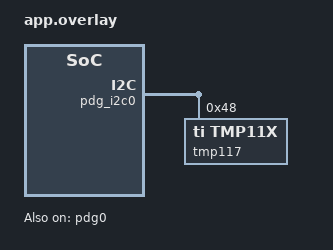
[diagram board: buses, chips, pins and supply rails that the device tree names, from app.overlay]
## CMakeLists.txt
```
# Copyright (c) 2026 Open Device Partnership and Contributors
# SPDX-License-Identifier: MIT

cmake_minimum_required(VERSION 3.20.0)

set(BOARD native_sim/native/64 CACHE STRING "Default board for Pico de Gallo samples")
set(SHIELD pico_de_gallo CACHE STRING "Default shield for Pico de Gallo samples")
get_filename_component(PDG_MODULE_ROOT "${CMAKE_CURRENT_LIST_DIR}/../../.." ABSOLUTE)
list(APPEND EXTRA_ZEPHYR_MODULES "${PDG_MODULE_ROOT}")

find_package(Zephyr REQUIRED HINTS $ENV{ZEPHYR_BASE})
project(pdg_i2c_bridge)

target_sources(app PRIVATE src/main.c)
```

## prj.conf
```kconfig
CONFIG_I2C=y
CONFIG_LOG=y
CONFIG_SENSOR=y
```

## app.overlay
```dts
/*
 * Copyright (c) 2026 Open Device Partnership and Contributors
 *
 * SPDX-License-Identifier: MIT
 */


&pdg0 {
	status = "okay";
};

&pdg_i2c0 {
	status = "okay";

	tmp117: tmp117@48 {
		compatible = "ti,tmp11x";
		reg = <0x48>;
		status = "okay";
	};
};
```

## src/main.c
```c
/*
 * Copyright (c) 2026 Open Device Partnership and Contributors
 *
 * SPDX-License-Identifier: MIT
 *
 * Small sample/test for the Pico de Gallo I2C controller. Reads the ambient
 * temperature from a TI TMP117 on the bridged I2C bus via the Zephyr sensor
 * API.
 */

#include <zephyr/kernel.h>
#include <zephyr/device.h>
#include <zephyr/drivers/sensor.h>

int main(void)
{
	const struct device *tmp117 = DEVICE_DT_GET(DT_NODELABEL(tmp117));
	struct sensor_value temp;
	int ret;

	if (!device_is_ready(tmp117)) {
		printk("TMP117 not ready (Pico de Gallo bridge connected?)\n");
		return 0;
	}

	while (1) {
		ret = sensor_sample_fetch(tmp117);
		if (ret < 0) {
			printk("sensor_sample_fetch failed: %d\n", ret);
		}

		ret = sensor_channel_get(tmp117, SENSOR_CHAN_AMBIENT_TEMP, &temp);
		if (ret < 0) {
			printk("sensor_channel_get failed: %d\n", ret);
		}

		printk("Temperature: %d.%06d C\n", temp.val1, temp.val2);

		k_sleep(K_SECONDS(1));
	}

	return 0;
}
```
